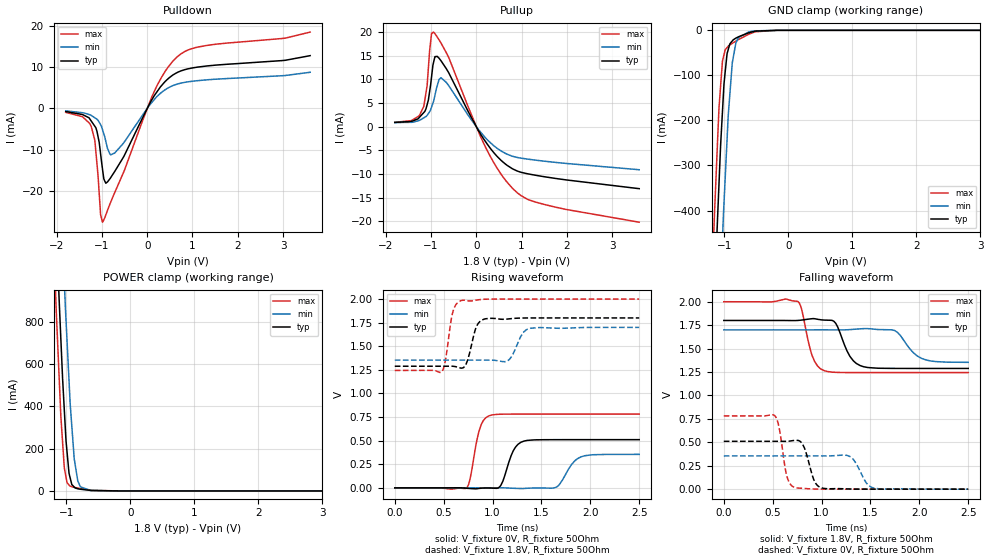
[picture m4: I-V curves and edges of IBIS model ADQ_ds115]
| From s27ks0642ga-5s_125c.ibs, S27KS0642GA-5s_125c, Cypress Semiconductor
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[Model]   ADQ_ds115
Model_type   I/O
Polarity   Non-Inverting
Enable   Active-High
Vinl = 0.54
Vinh = 1.26
Vmeas = 0.9
Vref = 0.9
Cref = 15pF
|   typ   min   max
C_comp   1.03pF   1.01pF   1.05pF
[Voltage Range]   1.8   1.7   2
[Temperature Range]   25   125   -40
[Pullup Reference]   1.8   1.7   2
[Pulldown Reference]   0   0   0
[Power Clamp Reference]   1.8   1.7   2
[GND Clamp Reference]   0   0   0
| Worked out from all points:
|   slope of the pulldown table from 0 to 0.27 V, typ, clamps not added: 55.2 ohm
|   slope of the pullup table from 0 to 0.27 V, typ, clamps not added: 66.4 ohm
|   falling waveform, V_fixture 1.8V, R_fixture 50Ohm: 20-80 % time 132ps typ, 165ps min, 104ps max; typ from 1.8 V to 1.29 V
|   rising waveform, V_fixture 0V, R_fixture 50Ohm: 20-80 % time 105ps typ, 133ps min, 87.9ps max; typ from 0 V to 0.511 V
|   rising waveform, V_fixture 1.8V, R_fixture 50Ohm: 20-80 % time 76ps typ, 92.8ps min, 65.5ps max; typ from 1.29 V to 1.8 V
|   falling waveform, V_fixture 0V, R_fixture 50Ohm: 20-80 % time 84.5ps typ, 107ps min, 69.8ps max; typ from 0.511 V to 0 V
[Pulldown]
|   Voltage   I(typ)   I(min)   I(max)
-1.8V     -786uA     -611.4uA   -977.6uA
-1.236V   -3.094mA   -1.722mA   -4.432mA
-1.158V   -4.335mA   -2.291mA   -7.709mA
-1.03V    -11.04mA   -3.966mA   -25.79mA
-988mV    -14.73mA   -5.174mA   -27.6mA
-914.4mV  -18.15mA   -8.02mA    -25.82mA
-822.6mV  -17.06mA   -11.11mA   -23.15mA
-718.8mV  -15.31mA   -10.84mA   -20.43mA
154.8mV   3.056mA    2.108mA    4.063mA
650mV     8.609mA    5.834mA    12.36mA
1.118V    9.998mA    6.713mA    14.85mA
3.6V      12.77mA    8.738mA    18.48mA
[GND Clamp]
|   Voltage   I(typ)   I(min)   I(max)
-1.8V     -3.484A    -3.81A     -3.305A
-1.158V   -617.9mA   -958.6mA   -420mA
-1.108V   -423mA     -753mA     -251.4mA
-1.084V   -340.8mA   -660mA     -172.2mA
-1.03V    -180.8mA   -464.8mA   -68.59mA
-1.015V   -140.9mA   -409.4mA   -59.38mA
-957.6mV  -51.67mA   -241.1mA   -38.13mA
-939.8mV  -42.77mA   -189.1mA   -35.32mA
-876.9mV  -23.61mA   -72.69mA   -28.94mA
-820.8mV  -17.34mA   -28.19mA   -23.98mA
-516.6mV  -1.742mA   -1.161mA   -3.233mA
3.6V      0A         0A         0A
[Pullup]
|   Voltage   I(typ)   I(min)   I(max)
-1.8V     902.6uA    872.5uA    924.6uA
-1.432V   1.11mA     926.1uA    1.289mA
-1.158V   2.997mA    1.877mA    4.312mA
-1.086V   4.621mA    2.378mA    8.627mA
-988mV    10.46mA    4.119mA    19.64mA
-944.9mV  13.49mA    5.305mA    19.97mA
-912.6mV  14.79mA    6.631mA    19.64mA
-778mV    13.91mA    10.33mA    17.65mA
154.8mV   -2.458mA   -1.803mA   -3.316mA
813.6mV   -8.946mA   -6.274mA   -13.13mA
1.472V    -10.51mA   -7.241mA   -16.33mA
3.6V      -13.08mA   -9.079mA   -20.15mA
[POWER Clamp]
|   Voltage   I(typ)   I(min)   I(max)
-1.8V     6.849A     7.494A     6.488A
-1.237V   1.906A     2.602A     1.488A
-1.158V   1.265A     1.963A     856.6mA
-1.112V   907mA      1.592A     539.4mA
-1.086V   723.1mA    1.387A     355.9mA
-1.031V   382.8mA    990.1mA    109.6mA
-1.004V   235.2mA    805.7mA    64.3mA
-944mV    66.5mA     436.6mA    23.32mA
-876.9mV  18.54mA    152.6mA    16.93mA
-820.8mV  10.14mA    46.94mA    13.54mA
-618.5mV  2.352mA    2.036mA    3.421mA
3.6V      0A         0A         0A
[Ramp]
R_load = 50
|   typ   min   max
dV/dt_r 3.0634E-01/1.0504E-10   2.1289E-01/1.3195E-10   4.6903E-01/8.7504E-11
dV/dt_f 3.0696E-01/1.3139E-10   2.0798E-01/1.6495E-10   4.5352E-01/1.0411E-10
[Falling Waveform]
V_fixture = 1.8V
V_fixture_min = 1.7V
V_fixture_max = 2V
R_fixture = 50Ohm
C_fixture = 0F
|   Time   V(typ)   V(min)   V(max)
0s        1.8V       1.7V       2V
755ps     1.8V       1.7V       2.004V
905ps     1.819V     1.7V       1.422V
1.03ns    1.804V     1.7V       1.264V
1.145ns   1.77V      1.699V     1.247V
1.29ns    1.417V     1.703V     1.244V
1.395ns   1.319V     1.711V     1.244V
1.75ns    1.289V     1.692V     1.244V
2.07ns    1.288V     1.378V     1.244V
2.5ns     1.288V     1.353V     1.244V
[Rising Waveform]
V_fixture = 0V
V_fixture_min = 0V
V_fixture_max = 0V
R_fixture = 50Ohm
C_fixture = 0F
|   Time   V(typ)   V(min)   V(max)
0s        0V         0V         0V
730ps     -3.82mV    0V         -5.048mV
880ps     -4.14mV    -11.79uV   658mV
985ps     -2.455mV   114uV      770.3mV
1.08ns    19.37mV    565.7uV    779.8mV
1.21ns    388.3mV    -4.338mV   781.3mV
1.325ns   496.3mV    -6.51mV    781.5mV
1.655ns   510.3mV    8.569mV    781.7mV
1.915ns   510.5mV    331.6mV    781.7mV
2.5ns     510.6mV    354.8mV    781.7mV
[Rising Waveform]
V_fixture = 1.8V
V_fixture_min = 1.7V
V_fixture_max = 2V
R_fixture = 50Ohm
C_fixture = 0F
|   Time   V(typ)   V(min)   V(max)
0s        1.288V     1.353V     1.244V
480ps     1.288V     1.353V     1.229V
590ps     1.289V     1.353V     1.847V
675ps     1.269V     1.353V     1.983V
730ps     1.312V     1.353V     1.984V
840ps     1.718V     1.353V     1.99V
920ps     1.789V     1.353V     1.998V
1.155ns   1.789V     1.346V     2V
1.39ns    1.8V       1.691V     2V
2.5ns     1.8V       1.7V       2V
[Falling Waveform]
|Gnd
V_fixture = 0V
V_fixture_min = 0V
V_fixture_max = 0V
R_fixture = 50Ohm
C_fixture = 0F
|   Time   V(typ)   V(min)   V(max)
0s        510.6mV    354.9mV    781.7mV
520ps     510.6mV    354.9mV    785.4mV
565ps     510.6mV    354.9mV    660.6mV
650ps     510.8mV    354.9mV    122.6mV
730ps     521.5mV    354.9mV    15.11mV
805ps     482mV      354.9mV    9.09mV
1.02ns    8.704mV    354.9mV    253.8uV
1.285ns   1.944mV    351.3mV    -1.371uV
1.53ns    47.52uV    12.96mV    -1.173uV
2.5ns     -651.7nV   0V         0V
